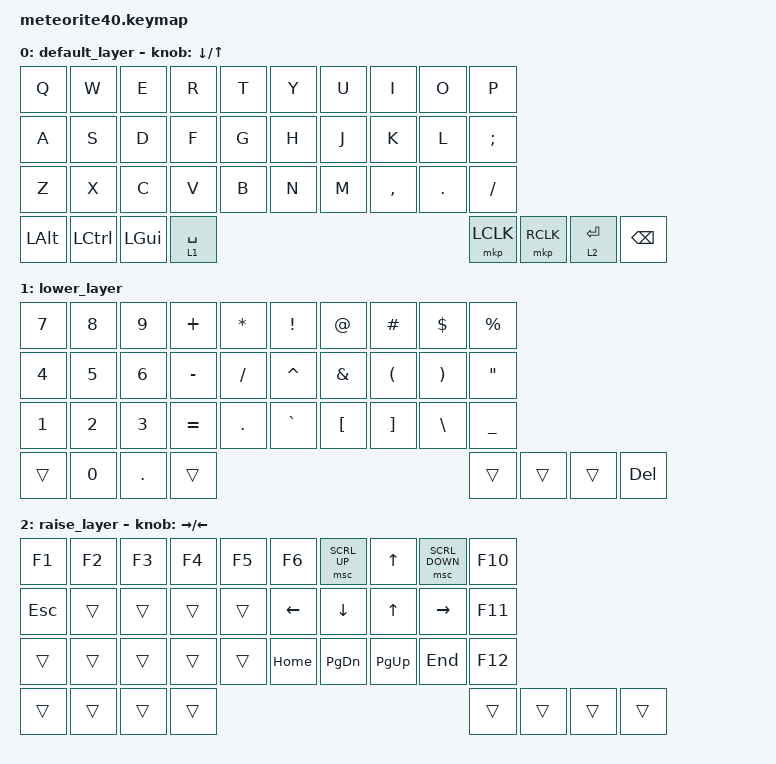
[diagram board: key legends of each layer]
#include <behaviors.dtsi>
#include <dt-bindings/zmk/keys.h>
#include <dt-bindings/zmk/bt.h>
#include <dt-bindings/zmk/mouse.h>
/ {
    keymap {
        compatible = "zmk,keymap";
        default_layer {
            bindings = <
                &kp Q &kp W &kp E &kp R &kp T   &kp Y &kp U &kp I &kp O &kp P
                &kp A &kp S &kp D &kp F &kp G   &kp H &kp J &kp K &kp L &kp SEMI
                &kp Z &kp X &kp C &kp V &kp B   &kp N &kp M &kp COMMA &kp DOT &kp FSLH
                &kp LALT &kp LCTRL &kp LGUI &lt 1 SPACE   &mkp LCLK &mkp RCLK &lt 2 ENTER &kp BSPC
            >;
            sensor-bindings = <&inc_dec_kp DOWN UP>;
        };
        lower_layer {
            bindings = <
                &kp N7 &kp N8 &kp N9 &kp PLUS &kp STAR   &kp EXCL &kp AT &kp HASH &kp DLLR &kp PRCNT
                &kp N4 &kp N5 &kp N6 &kp MINUS &kp FSLH   &kp CARET &kp AMPS &kp LPAR &kp RPAR &kp DQT
                &kp N1 &kp N2 &kp N3 &kp EQUAL &kp DOT   &kp GRAVE &kp LBKT &kp RBKT &kp BSLH &kp UNDER
                &trans &kp N0 &kp DOT &trans   &trans &trans &trans &kp DEL
            >;
        };
        raise_layer {
            bindings = <
                &kp F1 &kp F2 &kp F3 &kp F4 &kp F5   &kp F6 &msc SCRL_UP &kp UP &msc SCRL_DOWN &kp F10
                &kp ESC &trans &trans &trans &trans   &kp LEFT &kp DOWN &kp UP &kp RIGHT &kp F11
                &trans &trans &trans &trans &trans   &kp HOME &kp PG_DN &kp PG_UP &kp END &kp F12
                &trans &trans &trans &trans   &trans &trans &trans &trans
            >;
            sensor-bindings = <&inc_dec_kp RIGHT LEFT>;
        };
    };
};
